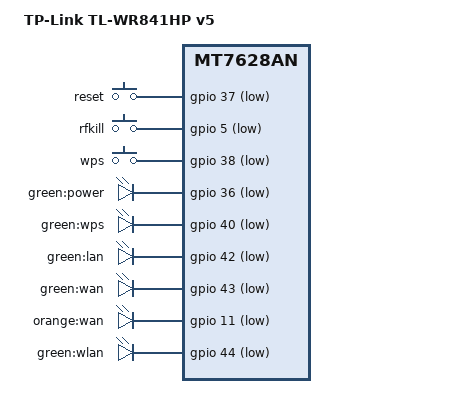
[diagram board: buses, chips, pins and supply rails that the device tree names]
#include "mt7628an_tplink_8m.dtsi"

/ {
	compatible = "tplink,tl-wr841hp-v5", "mediatek,mt7628an-soc";
	model = "TP-Link TL-WR841HP v5";

	aliases {
		led-boot = &led_power;
		led-failsafe = &led_power;
		led-running = &led_power;
		led-upgrade = &led_power;
	};

	keys {
		compatible = "gpio-keys";
		
		reset {
			label = "reset";
			gpios = <&gpio 37 GPIO_ACTIVE_LOW>;
			linux,code = <KEY_RESTART>;
		};

		rfkill {
			label = "rfkill";
			gpios = <&gpio 5 GPIO_ACTIVE_LOW>;
			linux,code = <KEY_RFKILL>;
		};
		
		wps {
			label = "wps";
			gpios = <&gpio 38 GPIO_ACTIVE_LOW>;
			linux,code = <KEY_WPS_BUTTON>;
		};
	};

	leds {
		compatible = "gpio-leds";
		
		led_power: power {
			label = "green:power";
			gpios = <&gpio 36 GPIO_ACTIVE_LOW>;
		};

		wps {
			label = "green:wps";
			gpios = <&gpio 40 GPIO_ACTIVE_LOW>;
		};

		lan {
			label = "green:lan";
			gpios = <&gpio 42 GPIO_ACTIVE_LOW>;
		};
		
		wan_green {
			label = "green:wan";
			gpios = <&gpio 43 GPIO_ACTIVE_LOW>;
		};

		wan_orange {
			label = "orange:wan";
			gpios = <&gpio 11 GPIO_ACTIVE_LOW>;
		};

		wlan {
			label = "green:wlan";
			gpios = <&gpio 44 GPIO_ACTIVE_LOW>;
		};
	};
};

&ehci {
	status = "disabled";
};

&ohci {
	status = "disabled";
};

&state_default {
	gpio {
		groups = "gpio", "p0led_an", "p1led_an", "p2led_an", "p3led_an", "p4led_an", "perst", "refclk", "uart1", "wdt", "wled_an";
		function = "gpio";
	};
};

&esw {
	mediatek,portmap = <0x3e>;
};
